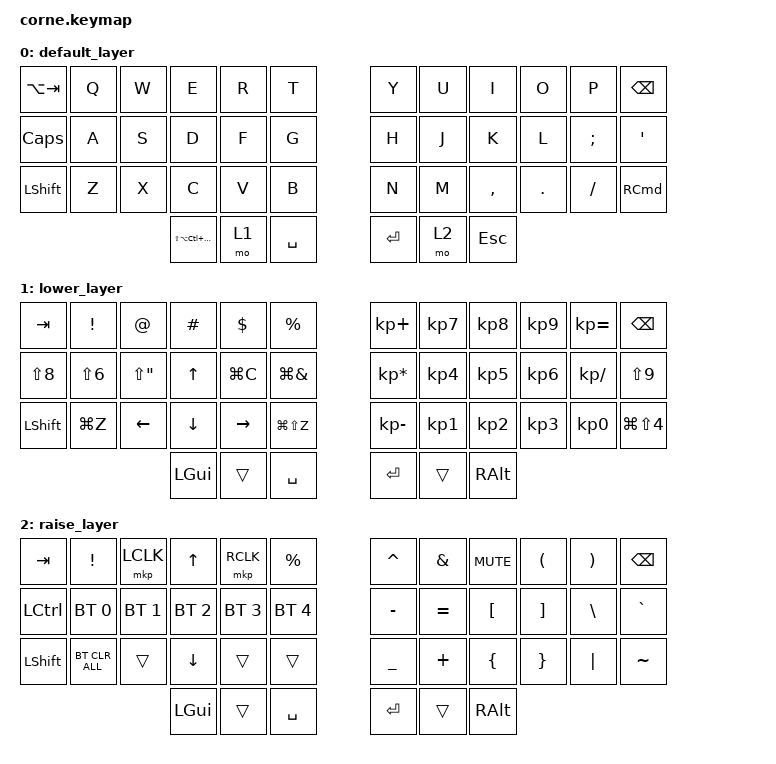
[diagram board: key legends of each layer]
d/*
 * Copyright (c) 2020 The ZMK Contributors
 *
 * SPDX-License-Identifier: MIT
 */
#include <behaviors.dtsi>
#include <dt-bindings/zmk/bt.h>
#include <dt-bindings/zmk/keys.h>
#include <dt-bindings/zmk/pointing.h>

/ {
    keymap {
        compatible = "zmk,keymap";

        default_layer {
            // -----------------------------------------------------------------------------------------
            // |  TAB |  Q  |  W  |  E  |  R  |  T  |   |  Y  |  U   |  I  |  O  |  P  | BSPC |
            // | CTRL |  A  |  S  |  D  |  F  |  G  |   |  H  |  J   |  K  |  L  |  ;  |  '   |
            // | SHFT |  Z  |  X  |  C  |  V  |  B  |   |  N  |  M   |  ,  |  .  |  /  | ESC  |
            //                    | GUI | LWR | SPC |   | ENT | RSE  | ALT |

            bindings = <
&kp LA(TAB)  &kp Q  &kp W  &kp E                    &kp R  &kp T        &kp Y    &kp U  &kp I       &kp O    &kp P     &kp BSPC
&kp CAPS     &kp A  &kp S  &kp D                    &kp F  &kp G        &kp H    &kp J  &kp K       &kp L    &kp SEMI  &kp APOS
&kp LSHFT    &kp Z  &kp X  &kp C                    &kp V  &kp B        &kp N    &kp M  &kp COMMA   &kp DOT  &kp FSLH  &kp RIGHT_COMMAND
                           &kp LS(LA(LC(LG(F18))))  &mo 1  &kp SPACE    &kp RET  &mo 2  &kp ESCAPE
            >;
        };

        lower_layer {
            // -----------------------------------------------------------------------------------------
            // |  TAB |  1  |  2  |  3  |  4  |  5  |   |  6  |  7  |  8  |  9  |  0  | BSPC |
            // | BTCLR| BT1 | BT2 | BT3 | BT4 | BT5 |   | LFT | DWN |  UP | RGT |     |      |
            // | SHFT |     |     |     |     |     |   |     |     |     |     |     |      |
            //                    | GUI |     | SPC |   | ENT |     | ALT |

            bindings = <
&kp TAB         &kp EXCL          &kp AT                 &kp HASH      &kp DOLLAR  &kp PERCENT      &kp KP_PLUS      &kp KP_NUMBER_7  &kp KP_NUMBER_8  &kp KP_NUMBER_9  &kp KP_EQUAL     &kp BSPC
&kp LS(N8)      &kp LS(NUMBER_6)  &kp LS(DOUBLE_QUOTES)  &kp UP_ARROW  &kp LG(C)   &kp LG(AMPS)     &kp KP_ASTERISK  &kp KP_NUMBER_4  &kp KP_NUMBER_5  &kp KP_N6        &kp KP_DIVIDE    &kp LS(N9)
&kp LEFT_SHIFT  &kp LG(Z)         &kp LEFT               &kp DOWN      &kp RIGHT   &kp LG(LS(Z))    &kp KP_MINUS     &kp KP_NUMBER_1  &kp KP_N2        &kp KP_NUMBER_3  &kp KP_NUMBER_0  &kp LG(LS(NUMBER_4))
                                                         &kp LGUI      &trans      &kp SPACE        &kp RET          &trans           &kp RIGHT_ALT
            >;
        };

        raise_layer {
            // -----------------------------------------------------------------------------------------
            // |  TAB |  !  |  @  |  #  |  $  |  %  |   |  ^  |  &  |  *  |  (  |  )  | BSPC |
            // | CTRL |     |     |     |     |     |   |  -  |  =  |  [  |  ]  |  \  |  `   |
            // | SHFT |     |     |     |     |     |   |  _  |  +  |  {  |  }  | "|" |  ~   |
            //                    | GUI |     | SPC |   | ENT |     | ALT |

            bindings = <
&kp TAB    &kp EXCL        &mkp LCLK     &kp UP_ARROW  &mkp RCLK     &kp PRCNT       &kp CARET  &kp AMPS   &kp C_MUTE  &kp LPAR  &kp RPAR  &kp BSPC
&kp LCTRL  &bt BT_SEL 0    &bt BT_SEL 1  &bt BT_SEL 2  &bt BT_SEL 3  &bt BT_SEL 4    &kp MINUS  &kp EQUAL  &kp LBKT    &kp RBKT  &kp BSLH  &kp GRAVE
&kp LSHFT  &bt BT_CLR_ALL  &trans        &kp DOWN      &trans        &trans          &kp UNDER  &kp PLUS   &kp LBRC    &kp RBRC  &kp PIPE  &kp TILDE
                                         &kp LGUI      &trans        &kp SPACE       &kp RET    &trans     &kp RALT
            >;
        };
    };
};
